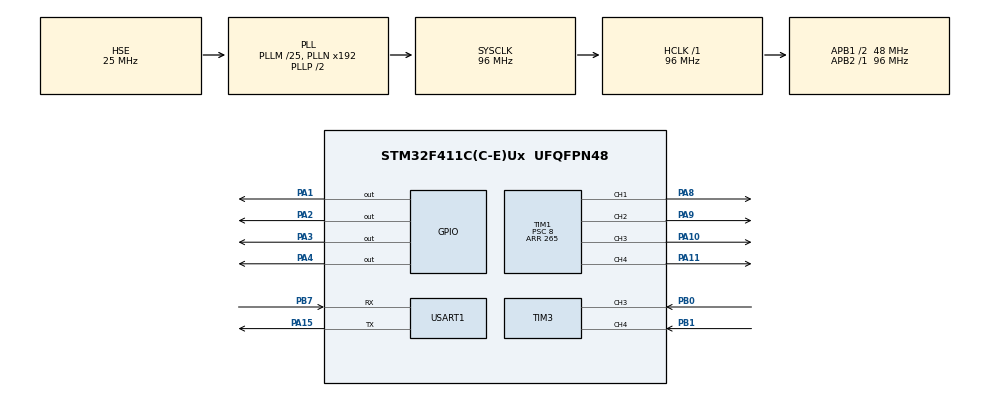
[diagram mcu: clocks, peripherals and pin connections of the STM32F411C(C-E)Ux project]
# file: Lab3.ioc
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Mcu.Family=STM32F4
Mcu.Name=STM32F411C(C-E)Ux
Mcu.Package=UFQFPN48
NVIC.PriorityGroup=NVIC_PRIORITYGROUP_4
NVIC.TIM3_IRQn=true\:0\:0\:false\:false\:true\:true\:true\:true
PA1.Signal=GPIO_Output
PA10.Signal=S_TIM1_CH3
PA11.Signal=S_TIM1_CH4
PA13.Mode=Trace_Asynchronous_SW
PA13.Signal=SYS_JTMS-SWDIO
PA14.Mode=Trace_Asynchronous_SW
PA14.Signal=SYS_JTCK-SWCLK
PA15.Mode=Asynchronous
PA15.Signal=USART1_TX
PA2.Signal=GPIO_Output
PA3.Signal=GPIO_Output
PA4.Signal=GPIO_Output
PA8.Signal=S_TIM1_CH1
PA9.Signal=S_TIM1_CH2
PB0.Signal=S_TIM3_CH3
PB1.Signal=S_TIM3_CH4
PB3.Mode=Trace_Asynchronous_SW
PB3.Signal=SYS_JTDO-SWO
PB7.Mode=Asynchronous
PB7.Signal=USART1_RX
PH0\ -\ OSC_IN.Mode=HSE-External-Oscillator
PH0\ -\ OSC_IN.Signal=RCC_OSC_IN
PH1\ -\ OSC_OUT.Mode=HSE-External-Oscillator
PH1\ -\ OSC_OUT.Signal=RCC_OSC_OUT
ProjectManager.HeapSize=0x200
ProjectManager.StackSize=0x400
ProjectManager.TargetToolchain=STM32CubeIDE
RCC.48MHZClocksFreq_Value=48000000
RCC.AHBFreq_Value=96000000
RCC.APB1CLKDivider=RCC_HCLK_DIV2
RCC.APB1Freq_Value=48000000
RCC.APB1TimFreq_Value=96000000
RCC.APB2Freq_Value=96000000
RCC.APB2TimFreq_Value=96000000
RCC.CortexFreq_Value=96000000
RCC.HCLKFreq_Value=96000000
RCC.HSE_VALUE=25000000
RCC.HSI_VALUE=16000000
RCC.LSE_VALUE=32768
RCC.PLLM=25
RCC.PLLSourceVirtual=RCC_PLLSOURCE_HSE
RCC.SYSCLKFreq_VALUE=96000000
RCC.SYSCLKSource=RCC_SYSCLKSOURCE_PLLCLK
RCC.VCOOutputFreq_Value=192000000
SH.S_TIM1_CH1.0=TIM1_CH1,PWM Generation1 CH1
SH.S_TIM1_CH2.0=TIM1_CH2,PWM Generation2 CH2
SH.S_TIM1_CH3.0=TIM1_CH3,PWM Generation3 CH3
SH.S_TIM1_CH4.0=TIM1_CH4,PWM Generation4 CH4
SH.S_TIM3_CH3.0=TIM3_CH3,Input_Capture3_from_TI3
SH.S_TIM3_CH4.0=TIM3_CH4,Input_Capture4_from_TI4
TIM1.Channel-PWM\ Generation1\ CH1=TIM_CHANNEL_1
TIM1.Channel-PWM\ Generation2\ CH2=TIM_CHANNEL_2
TIM1.Channel-PWM\ Generation3\ CH3=TIM_CHANNEL_3
TIM1.Channel-PWM\ Generation4\ CH4=TIM_CHANNEL_4
TIM1.Period=265
TIM1.Prescaler=8
TIM1.Pulse-PWM\ Generation3\ CH3=0
TIM3.Channel-Input_Capture3_from_TI3=TIM_CHANNEL_3
TIM3.Channel-Input_Capture4_from_TI4=TIM_CHANNEL_4
TIM3.ICPolarity_CH3=TIM_INPUTCHANNELPOLARITY_BOTHEDGE
TIM3.ICPolarity_CH4=TIM_INPUTCHANNELPOLARITY_BOTHEDGE
USART1.VirtualMode=VM_ASYNC
VP_TIM3_VS_ClockSourceINT.Mode=Internal
board=custom

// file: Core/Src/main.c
/* USER CODE BEGIN Header */
/**
  ******************************************************************************
  * @file           : main.c
  * @brief          : Main program body
  ******************************************************************************
  * @attention
  *
  * Copyright (c) 2024 STMicroelectronics.
  * All rights reserved.
  *
  * This software is licensed under terms that can be found in the LICENSE file
  * in the root directory of this software component.
  * If no LICENSE file comes with this software, it is provided AS-IS.
  *
  ******************************************************************************
  */
/* USER CODE END Header */
#include "main.h"

/* USER CODE BEGIN Includes */
#include "motor_driver.h"
#include <stdio.h>
/* USER CODE END Includes */

/* USER CODE BEGIN PD */
int dc;
int dc2;
int test;
#define TIMCLOCK   96000000
#define TIMCLOCK2   96000000
#define PRESCALAR  0
uint16_t IC_Val1 = 0;
uint16_t IC_Val2 = 0;
uint16_t Difference = 0;
int Is_First_Captured = 0;
int ifc = 0;
uint16_t IC_Val12 = 0;
uint16_t IC_Val22 = 0;
uint16_t Difference2 = 0;
uint32_t usWidth = 0;
uint32_t usWidth2 = 0;

motor_t mot1 = {.duty    = 0,
				  .channel = 1,
				  .timer = TIM1};
motor_t mot2 = {.duty    = 0,
				  .channel = 2,
    			  .timer = TIM1};

int n;
char buffer[50];

/* USER CODE END PD */

TIM_HandleTypeDef htim1;
TIM_HandleTypeDef htim3;

UART_HandleTypeDef huart1;

void SystemClock_Config(void);
static void MX_GPIO_Init(void);
static void MX_TIM1_Init(void);
static void MX_USART1_UART_Init(void);
static void MX_TIM3_Init(void);

int main(void)
{

  /* MCU Configuration--------------------------------------------------------*/

  /* Reset of all peripherals, Initializes the Flash interface and the Systick. */
  HAL_Init();

  /* Configure the system clock */
  SystemClock_Config();

  /* Initialize all configured peripherals */
  MX_GPIO_Init();
  MX_TIM1_Init();
  MX_USART1_UART_Init();
  MX_TIM3_Init();
  /* USER CODE BEGIN 2 */
  HAL_TIM_PWM_Start(&htim1, TIM_CHANNEL_1);
  HAL_TIM_PWM_Start(&htim1, TIM_CHANNEL_2);
  HAL_TIM_PWM_Start(&htim1, TIM_CHANNEL_3);
  HAL_TIM_PWM_Start(&htim1, TIM_CHANNEL_4);
  HAL_TIM_IC_Start_IT(&htim3, TIM_CHANNEL_3);
  HAL_TIM_IC_Start_IT(&htim3, TIM_CHANNEL_4);

  HAL_GPIO_WritePin (GPIOA, GPIO_PIN_1, GPIO_PIN_RESET);
  HAL_GPIO_WritePin (GPIOA, GPIO_PIN_2, GPIO_PIN_SET);
  HAL_GPIO_WritePin (GPIOA, GPIO_PIN_3, GPIO_PIN_SET);
  HAL_GPIO_WritePin (GPIOA, GPIO_PIN_4, GPIO_PIN_RESET);

  /* USER CODE END 2 */

  /* Infinite loop */
  while (1)
  {

    /* USER CODE BEGIN 3 */

	  n = sprintf(buffer, "Chan 1 Width: %d \r\n", usWidth);
	  HAL_UART_Transmit(&huart1,buffer,n,400);
	  n = sprintf(buffer, "Chan 2 Width: %d \r\n", usWidth2);
	  HAL_UART_Transmit(&huart1,buffer,n,400);
	  HAL_Delay(250);

  }
  /* USER CODE END 3 */
}

void SystemClock_Config(void)
{
  RCC_OscInitTypeDef RCC_OscInitStruct = {0};
  RCC_ClkInitTypeDef RCC_ClkInitStruct = {0};

  /** Configure the main internal regulator output voltage
  */
  __HAL_RCC_PWR_CLK_ENABLE();
  __HAL_PWR_VOLTAGESCALING_CONFIG(PWR_REGULATOR_VOLTAGE_SCALE1);

  /** Initializes the RCC Oscillators according to the specified parameters
  * in the RCC_OscInitTypeDef structure.
  */
  RCC_OscInitStruct.OscillatorType = RCC_OSCILLATORTYPE_HSE;
  RCC_OscInitStruct.HSEState = RCC_HSE_ON;
  RCC_OscInitStruct.PLL.PLLState = RCC_PLL_ON;
  RCC_OscInitStruct.PLL.PLLSource = RCC_PLLSOURCE_HSE;
  RCC_OscInitStruct.PLL.PLLM = 25;
  RCC_OscInitStruct.PLL.PLLN = 192;
  RCC_OscInitStruct.PLL.PLLP = RCC_PLLP_DIV2;
  RCC_OscInitStruct.PLL.PLLQ = 4;
  if (HAL_RCC_OscConfig(&RCC_OscInitStruct) != HAL_OK)
  {
    Error_Handler();
  }

  /** Initializes the CPU, AHB and APB buses clocks
  */
  RCC_ClkInitStruct.ClockType = RCC_CLOCKTYPE_HCLK|RCC_CLOCKTYPE_SYSCLK
                              |RCC_CLOCKTYPE_PCLK1|RCC_CLOCKTYPE_PCLK2;
  RCC_ClkInitStruct.SYSCLKSource = RCC_SYSCLKSOURCE_PLLCLK;
  RCC_ClkInitStruct.AHBCLKDivider = RCC_SYSCLK_DIV1;
  RCC_ClkInitStruct.APB1CLKDivider = RCC_HCLK_DIV2;
  RCC_ClkInitStruct.APB2CLKDivider = RCC_HCLK_DIV1;

  if (HAL_RCC_ClockConfig(&RCC_ClkInitStruct, FLASH_LATENCY_3) != HAL_OK)
  {
    Error_Handler();
  }
}

static void MX_TIM1_Init(void)
{

  TIM_MasterConfigTypeDef sMasterConfig = {0};
  TIM_OC_InitTypeDef sConfigOC = {0};
  TIM_BreakDeadTimeConfigTypeDef sBreakDeadTimeConfig = {0};

  htim1.Instance = TIM1;
  htim1.Init.Prescaler = 8;
  htim1.Init.CounterMode = TIM_COUNTERMODE_UP;
  htim1.Init.Period = 265;
  htim1.Init.ClockDivision = TIM_CLOCKDIVISION_DIV1;
  htim1.Init.RepetitionCounter = 0;
  htim1.Init.AutoReloadPreload = TIM_AUTORELOAD_PRELOAD_DISABLE;
  if (HAL_TIM_PWM_Init(&htim1) != HAL_OK)
  {
    Error_Handler();
  }
  sMasterConfig.MasterOutputTrigger = TIM_TRGO_RESET;
  sMasterConfig.MasterSlaveMode = TIM_MASTERSLAVEMODE_DISABLE;
  if (HAL_TIMEx_MasterConfigSynchronization(&htim1, &sMasterConfig) != HAL_OK)
  {
    Error_Handler();
  }
  sConfigOC.OCMode = TIM_OCMODE_PWM1;
  sConfigOC.Pulse = 0;
  sConfigOC.OCPolarity = TIM_OCPOLARITY_HIGH;
  sConfigOC.OCNPolarity = TIM_OCNPOLARITY_HIGH;
  sConfigOC.OCFastMode = TIM_OCFAST_DISABLE;
  sConfigOC.OCIdleState = TIM_OCIDLESTATE_RESET;
  sConfigOC.OCNIdleState = TIM_OCNIDLESTATE_RESET;
  if (HAL_TIM_PWM_ConfigChannel(&htim1, &sConfigOC, TIM_CHANNEL_1) != HAL_OK)
  {
    Error_Handler();
  }
  if (HAL_TIM_PWM_ConfigChannel(&htim1, &sConfigOC, TIM_CHANNEL_2) != HAL_OK)
  {
    Error_Handler();
  }
  if (HAL_TIM_PWM_ConfigChannel(&htim1, &sConfigOC, TIM_CHANNEL_3) != HAL_OK)
  {
    Error_Handler();
  }
  if (HAL_TIM_PWM_ConfigChannel(&htim1, &sConfigOC, TIM_CHANNEL_4) != HAL_OK)
  {
    Error_Handler();
  }
  sBreakDeadTimeConfig.OffStateRunMode = TIM_OSSR_DISABLE;
  sBreakDeadTimeConfig.OffStateIDLEMode = TIM_OSSI_DISABLE;
  sBreakDeadTimeConfig.LockLevel = TIM_LOCKLEVEL_OFF;
  sBreakDeadTimeConfig.DeadTime = 0;
  sBreakDeadTimeConfig.BreakState = TIM_BREAK_DISABLE;
  sBreakDeadTimeConfig.BreakPolarity = TIM_BREAKPOLARITY_HIGH;
  sBreakDeadTimeConfig.AutomaticOutput = TIM_AUTOMATICOUTPUT_DISABLE;
  if (HAL_TIMEx_ConfigBreakDeadTime(&htim1, &sBreakDeadTimeConfig) != HAL_OK)
  {
    Error_Handler();
  }
  HAL_TIM_MspPostInit(&htim1);

}

static void MX_TIM3_Init(void)
{

  TIM_ClockConfigTypeDef sClockSourceConfig = {0};
  TIM_MasterConfigTypeDef sMasterConfig = {0};
  TIM_IC_InitTypeDef sConfigIC = {0};

  htim3.Instance = TIM3;
  htim3.Init.Prescaler = 0;
  htim3.Init.CounterMode = TIM_COUNTERMODE_UP;
  htim3.Init.Period = 65535;
  htim3.Init.ClockDivision = TIM_CLOCKDIVISION_DIV1;
  htim3.Init.AutoReloadPreload = TIM_AUTORELOAD_PRELOAD_DISABLE;
  if (HAL_TIM_Base_Init(&htim3) != HAL_OK)
  {
    Error_Handler();
  }
  sClockSourceConfig.ClockSource = TIM_CLOCKSOURCE_INTERNAL;
  if (HAL_TIM_ConfigClockSource(&htim3, &sClockSourceConfig) != HAL_OK)
  {
    Error_Handler();
  }
  if (HAL_TIM_IC_Init(&htim3) != HAL_OK)
  {
    Error_Handler();
  }
  sMasterConfig.MasterOutputTrigger = TIM_TRGO_RESET;
  sMasterConfig.MasterSlaveMode = TIM_MASTERSLAVEMODE_DISABLE;
  if (HAL_TIMEx_MasterConfigSynchronization(&htim3, &sMasterConfig) != HAL_OK)
  {
    Error_Handler();
  }
  sConfigIC.ICPolarity = TIM_INPUTCHANNELPOLARITY_BOTHEDGE;
  sConfigIC.ICSelection = TIM_ICSELECTION_DIRECTTI;
  sConfigIC.ICPrescaler = TIM_ICPSC_DIV1;
  sConfigIC.ICFilter = 0;
  if (HAL_TIM_IC_ConfigChannel(&htim3, &sConfigIC, TIM_CHANNEL_3) != HAL_OK)
  {
    Error_Handler();
  }
  if (HAL_TIM_IC_ConfigChannel(&htim3, &sConfigIC, TIM_CHANNEL_4) != HAL_OK)
  {
    Error_Handler();
  }

}

static void MX_USART1_UART_Init(void)
{

  huart1.Instance = USART1;
  huart1.Init.BaudRate = 115200;
  huart1.Init.WordLength = UART_WORDLENGTH_8B;
  huart1.Init.StopBits = UART_STOPBITS_1;
  huart1.Init.Parity = UART_PARITY_NONE;
  huart1.Init.Mode = UART_MODE_TX_RX;
  huart1.Init.HwFlowCtl = UART_HWCONTROL_NONE;
  huart1.Init.OverSampling = UART_OVERSAMPLING_16;
  if (HAL_UART_Init(&huart1) != HAL_OK)
  {
    Error_Handler();
  }

}

static void MX_GPIO_Init(void)
{
  GPIO_InitTypeDef GPIO_InitStruct = {0};

  /* GPIO Ports Clock Enable */
  __HAL_RCC_GPIOH_CLK_ENABLE();
  __HAL_RCC_GPIOA_CLK_ENABLE();
  __HAL_RCC_GPIOB_CLK_ENABLE();

  /*Configure GPIO pin Output Level */
  HAL_GPIO_WritePin(GPIOA, GPIO_PIN_1|GPIO_PIN_2|GPIO_PIN_3|GPIO_PIN_4, GPIO_PIN_RESET);

  /*Configure GPIO pins : PA1 PA2 PA3 PA4 */
  GPIO_InitStruct.Pin = GPIO_PIN_1|GPIO_PIN_2|GPIO_PIN_3|GPIO_PIN_4;
  GPIO_InitStruct.Mode = GPIO_MODE_OUTPUT_PP;
  GPIO_InitStruct.Pull = GPIO_NOPULL;
  GPIO_InitStruct.Speed = GPIO_SPEED_FREQ_LOW;
  HAL_GPIO_Init(GPIOA, &GPIO_InitStruct);

}

/* USER CODE BEGIN 4 */
void HAL_TIM_IC_CaptureCallback(TIM_HandleTypeDef *htim){

	if (htim->Channel == HAL_TIM_ACTIVE_CHANNEL_3)  // if the interrupt source is channel1
			{
				if (Is_First_Captured==0) // if the first value is not captured
				{
					IC_Val1 = HAL_TIM_ReadCapturedValue(htim, TIM_CHANNEL_3); // read the first value
					Is_First_Captured = 1;  // set the first captured as true
				}

				else   // if the first is already captured
				{
					IC_Val2 = HAL_TIM_ReadCapturedValue(htim, TIM_CHANNEL_3);  // read second value

					Difference = IC_Val2-IC_Val1;

					float refClock = TIMCLOCK;
					float mFactor = 1000000/refClock;

					usWidth = Difference*mFactor;
					if (usWidth > 2050){
						IC_Val1 = IC_Val2;

					}
					else{
						//__HAL_TIM_SET_COUNTER(htim, 0);  // reset the counter
						Is_First_Captured = 0; // set it back to false
						dc = usWidth;
						dc = (dc - 1500)/2;
						//dc = 0;
						//set_duty(&mot1,dc);
					}

				}
			}
	if (htim->Channel == HAL_TIM_ACTIVE_CHANNEL_4)  // if the interrupt source is channel1
		{
			if (ifc==0) // if the first value is not captured
			{
				IC_Val12 = HAL_TIM_ReadCapturedValue(htim, TIM_CHANNEL_4); // read the first value
				ifc = 1;  // set the first captured as true
			}

			else   // if the first is already captured
			{
				IC_Val22 = HAL_TIM_ReadCapturedValue(htim, TIM_CHANNEL_4);  // read second value

				Difference2 = IC_Val22-IC_Val12;

				float refClock2 = TIMCLOCK2;
				float mFactor2 = 1000000/refClock2;

				usWidth2 = Difference2*mFactor2;
				if (usWidth2 > 2050){
					IC_Val12 = IC_Val22;

				}
				else{
					//__HAL_TIM_SET_COUNTER(htim, 0);  // reset the counter
					ifc = 0; // set it back to false
					dc2 = usWidth2;
					dc2 = (dc2 - 1500)/2;
					//dc = 0;
					//set_duty(&mot2,dc2);
				}
			}
		}
}
/* USER CODE END 4 */

void Error_Handler(void)
{
  __disable_irq();
  while (1)
  {
  }
}
